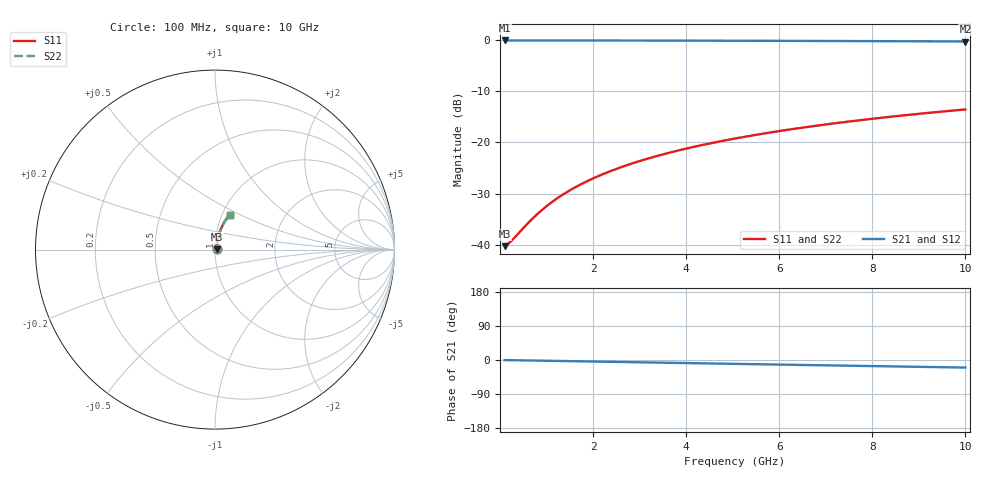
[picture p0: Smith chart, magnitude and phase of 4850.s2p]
# Hz S RI R 50.00
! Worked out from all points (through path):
!   100 points, 100 MHz to 10 GHz, reference 50 ohm
!   highest |S21| = -0.08 dB at 100 MHz (marker M1); lowest = -0.3 dB at 10 GHz (marker M2)
!   group delay of S21, straight-line fit = 5.56 ps
!   lowest |S11| = -40.3 dB at 100 MHz (marker M3), VSWR 1.02, Z = 51 + j0.218 ohm
!   |S11| at or under -10 dB: start of sweep to end of sweep
!   |S22| runs from -40.3 to -13.6 dB; largest |S21 - S12| = 0
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1e8  0.00945 0.00214  0.9905 -0.0035  0.9905 -0.0035  0.00945 0.00214
2e8  0.00953 0.00428  0.9905 -0.00701  0.9905 -0.00701  0.00953 0.00428
3e8  0.00962 0.00641  0.9904 -0.0105  0.9904 -0.0105  0.00962 0.00641
7e8  0.01 0.015  0.9899 -0.0245  0.9899 -0.0245  0.01 0.015
8e8  0.0102 0.0171  0.9898 -0.028  0.9898 -0.028  0.0102 0.0171
1e9  0.0105 0.0213  0.9894 -0.035  0.9894 -0.035  0.0105 0.0213
1.2e9  0.0109 0.0256  0.989 -0.042  0.989 -0.042  0.0109 0.0256
1.4e9  0.0113 0.0299  0.9885 -0.049  0.9885 -0.049  0.0113 0.0299
1.6e9  0.0118 0.0341  0.988 -0.056  0.988 -0.056  0.0118 0.0341
1.8e9  0.0123 0.0383  0.9874 -0.0629  0.9874 -0.0629  0.0123 0.0383
2.1e9  0.0132 0.0447  0.9863 -0.0734  0.9863 -0.0734  0.0132 0.0447
2.5e9  0.0146 0.0531  0.9847 -0.0872  0.9847 -0.0872  0.0146 0.0531
2.9e9  0.0163 0.0614  0.9829 -0.1011  0.9829 -0.1011  0.0163 0.0614
3.4e9  0.0187 0.0718  0.9802 -0.1183  0.9802 -0.1183  0.0187 0.0718
3.8e9  0.0209 0.08  0.9777 -0.1319  0.9777 -0.1319  0.0209 0.08
4.2e9  0.0233 0.0881  0.975 -0.1456  0.975 -0.1456  0.0233 0.0881
5.1e9  0.0295 0.1061  0.968 -0.1759  0.968 -0.1759  0.0295 0.1061
5.9e9  0.0359 0.1217  0.9607 -0.2024  0.9607 -0.2024  0.0359 0.1217
6.7e9  0.0432 0.1368  0.9525 -0.2285  0.9525 -0.2285  0.0432 0.1368
7.5e9  0.0513 0.1514  0.9433 -0.2542  0.9433 -0.2542  0.0513 0.1514
8.4e9  0.0612 0.1673  0.932 -0.2824  0.932 -0.2824  0.0612 0.1673
1e10  0.0811 0.1935  0.9093 -0.3307  0.9093 -0.3307  0.0811 0.1935
